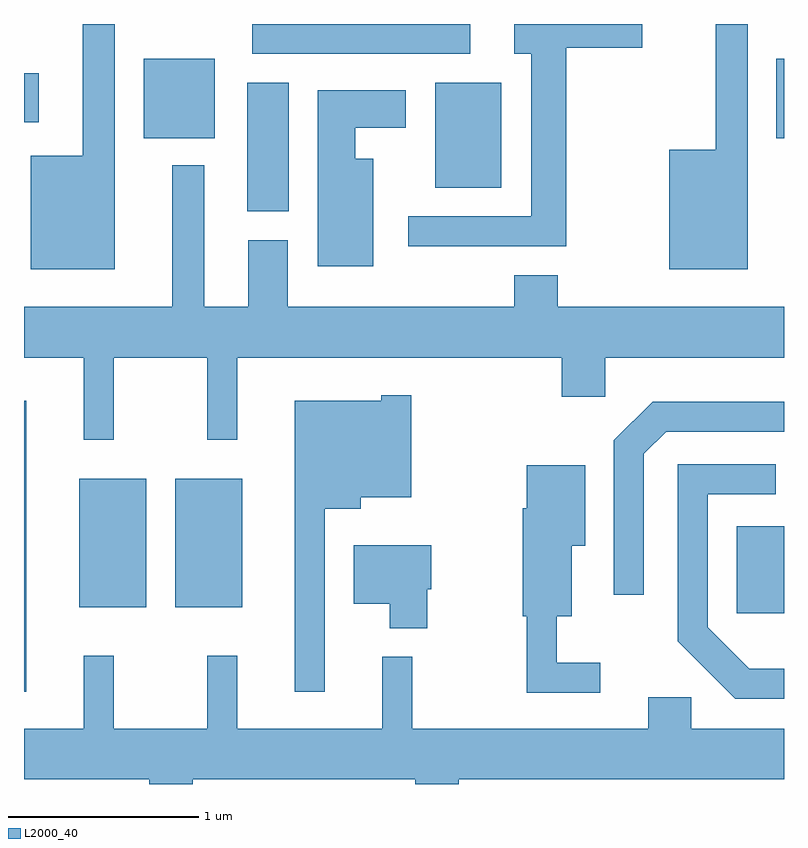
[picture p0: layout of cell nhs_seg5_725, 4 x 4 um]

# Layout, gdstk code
import gdstk
lib = gdstk.Library(unit=1e-6, precision=1e-09)
def R(c, l, rs):  # rectangles x0, y0, x1, y1
    for r in rs: c.add(gdstk.rectangle(r[:2], r[2:], *l))
def P(c, l, *ps):  # polygons
    for p in ps: c.add(gdstk.Polygon(p, *l))
L2000_40 = (2000, 40)

nhs_seg5_725 = lib.new_cell('nhs_seg5_725')
R(nhs_seg5_725, L2000_40, [(205.611,1490.558,205.624,1492.089), (209.361,1490.971,209.611,1491.429), (205.901,1491.001,206.254,1491.679), (206.406,1491.001,206.759,1491.679), (206.786,1493.086,207.004,1493.764), (207.776,1493.211,208.124,1493.764), (206.241,1493.471,206.614,1493.889), (209.571,1493.471,209.611,1493.889), (205.611,1493.556,205.689,1493.814), (206.811,1493.916,207.959,1494.072)])
P(nhs_seg5_725, L2000_40, [(208.464,1493.946),(208.864,1493.946),(208.864,1494.072),(208.191,1494.072),(208.191,1493.916),(208.281,1493.916),(208.281,1493.059),(207.633,1493.059),(207.633,1492.901),(208.464,1492.901)],
  [(209.419,1494.072),(209.251,1494.072),(209.251,1493.409),(209.006,1493.409),(209.006,1492.781),(209.419,1492.781)],
  [(206.089,1494.072),(205.921,1494.072),(205.921,1493.379),(205.646,1493.379),(205.646,1492.781),(206.089,1492.781)],
  [(207.449,1493.364),(207.354,1493.364),(207.354,1493.526),(207.619,1493.526),(207.619,1493.724),(207.156,1493.724),(207.156,1492.796),(207.449,1492.796)],
  [(206.084,1492.316),(206.576,1492.316),(206.576,1491.883),(206.734,1491.883),(206.734,1492.316),(208.441,1492.316),(208.441,1492.111),(208.669,1492.111),(208.669,1492.316),(209.611,1492.316),(209.611,1492.584),(208.419,1492.584),(208.419,1492.749),(208.191,1492.749),(208.191,1492.584),(206.999,1492.584),(206.999,1492.934),(206.791,1492.934),(206.791,1492.584),(206.559,1492.584),(206.559,1493.328),(206.391,1493.328),(206.391,1492.584),(205.611,1492.584),(205.611,1492.316),(205.926,1492.316),(205.926,1491.883),(206.084,1491.883)],
  [(207.194,1491.521),(207.384,1491.521),(207.384,1491.581),(207.649,1491.581),(207.649,1492.119),(207.491,1492.119),(207.491,1492.089),(207.036,1492.089),(207.036,1490.558),(207.194,1490.558)],
  [(208.874,1491.809),(208.992,1491.926),(209.611,1491.926),(209.611,1492.084),(208.919,1492.084),(208.716,1491.882),(208.716,1491.068),(208.874,1491.068)],
  [(209.611,1490.679),(209.427,1490.679),(209.209,1490.897),(209.209,1491.596),(209.568,1491.596),(209.568,1491.754),(209.051,1491.754),(209.051,1490.824),(209.354,1490.521),(209.611,1490.521)],
  [(208.643,1490.709),(208.414,1490.709),(208.414,1490.956),(208.494,1490.956),(208.494,1491.326),(208.564,1491.326),(208.564,1491.749),(208.256,1491.749),(208.256,1491.524),(208.236,1491.524),(208.236,1490.956),(208.256,1490.956),(208.256,1490.551),(208.643,1490.551)],
  [(207.734,1491.096),(207.754,1491.096),(207.754,1491.329),(207.346,1491.329),(207.346,1491.021),(207.536,1491.021),(207.536,1490.891),(207.734,1490.891)],
  [(206.499,1490.096),(207.671,1490.096),(207.671,1490.072),(207.899,1490.072),(207.899,1490.096),(209.611,1490.096),(209.611,1490.364),(209.124,1490.364),(209.124,1490.529),(208.896,1490.529),(208.896,1490.364),(207.654,1490.364),(207.654,1490.743),(207.496,1490.743),(207.496,1490.364),(206.734,1490.364),(206.734,1490.748),(206.576,1490.748),(206.576,1490.364),(206.084,1490.364),(206.084,1490.748),(205.926,1490.748),(205.926,1490.364),(205.611,1490.364),(205.611,1490.096),(206.271,1490.096),(206.271,1490.072),(206.499,1490.072)])

lib.write_gds('nhs_seg5_725.gds')
